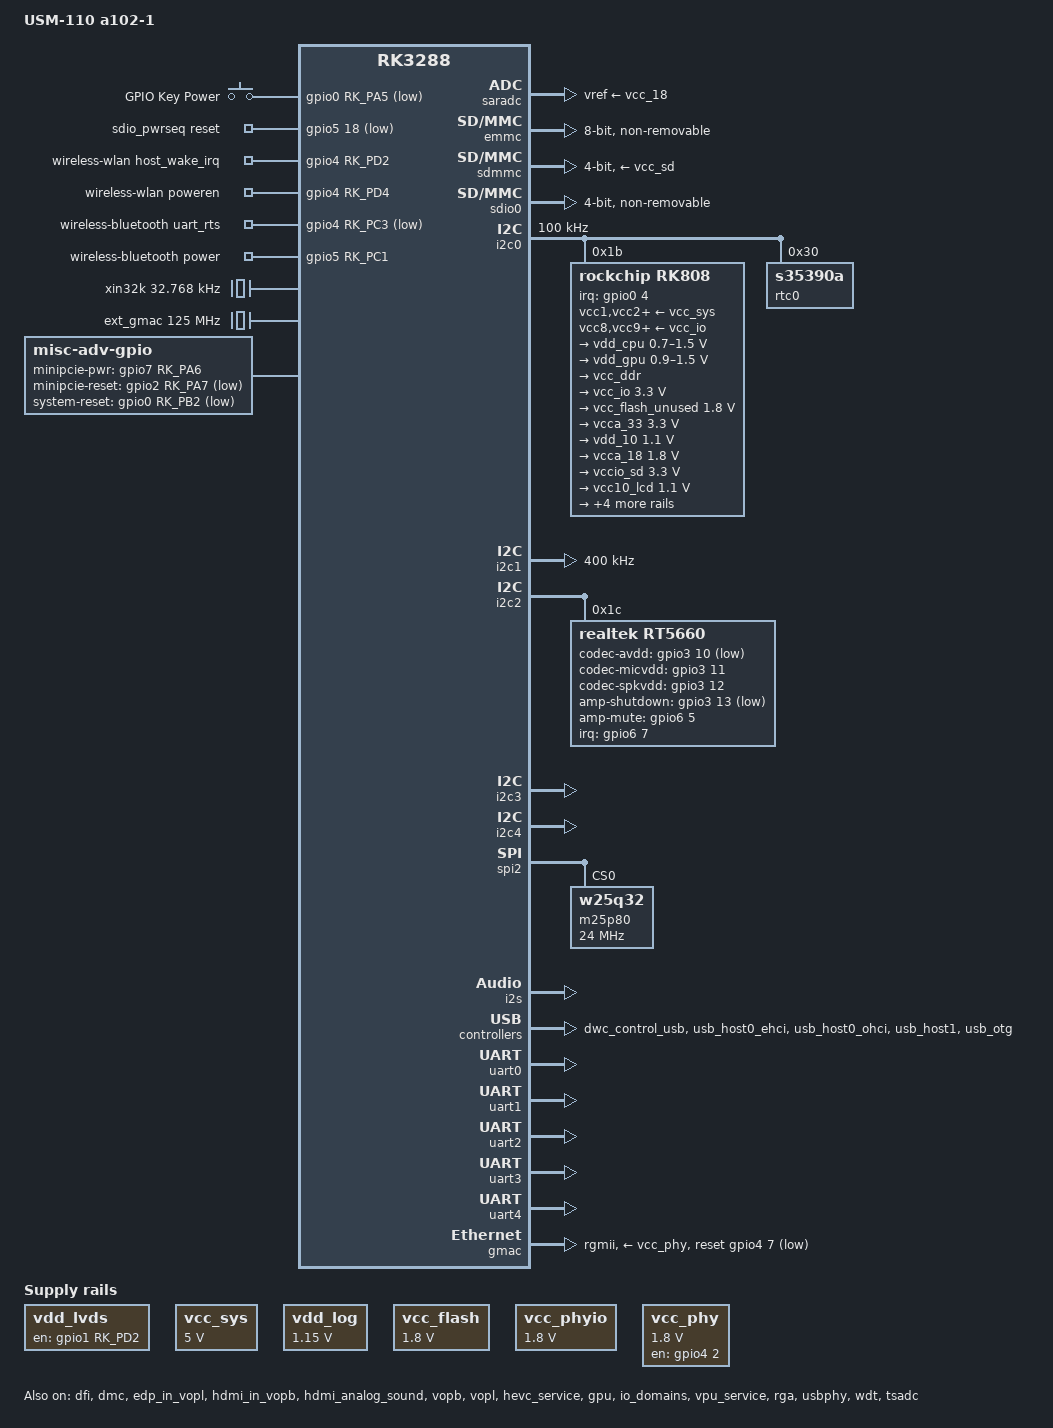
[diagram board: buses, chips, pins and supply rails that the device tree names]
/*
 * This file is dual-licensed: you can use it either under the terms
 * of the GPL or the X11 license, at your option. Note that this dual
 * licensing only applies to this file, and not this project as a
 * whole.
 *
 *  a) This file is free software; you can redistribute it and/or
 *     modify it under the terms of the GNU General Public License as
 *     published by the Free Software Foundation; either version 2 of the
 *     License, or (at your option) any later version.
 *
 *     This file is distributed in the hope that it will be useful,
 *     but WITHOUT ANY WARRANTY; without even the implied warranty of
 *     MERCHANTABILITY or FITNESS FOR A PARTICULAR PURPOSE.  See the
 *     GNU General Public License for more details.
 *
 * Or, alternatively,
 *
 *  b) Permission is hereby granted, free of charge, to any person
 *     obtaining a copy of this software and associated documentation
 *     files (the "Software"), to deal in the Software without
 *     restriction, including without limitation the rights to use,
 *     copy, modify, merge, publish, distribute, sublicense, and/or
 *     sell copies of the Software, and to permit persons to whom the
 *     Software is furnished to do so, subject to the following
 *     conditions:
 *
 *     The above copyright notice and this permission notice shall be
 *     included in all copies or substantial portions of the Software.
 *
 *     THE SOFTWARE IS PROVIDED "AS IS", WITHOUT WARRANTY OF ANY KIND,
 *     EXPRESS OR IMPLIED, INCLUDING BUT NOT LIMITED TO THE WARRANTIES
 *     OF MERCHANTABILITY, FITNESS FOR A PARTICULAR PURPOSE AND
 *     NONINFRINGEMENT. IN NO EVENT SHALL THE AUTHORS OR COPYRIGHT
 *     HOLDERS BE LIABLE FOR ANY CLAIM, DAMAGES OR OTHER LIABILITY,
 *     WHETHER IN AN ACTION OF CONTRACT, TORT OR OTHERWISE, ARISING
 *     FROM, OUT OF OR IN CONNECTION WITH THE SOFTWARE OR THE USE OR
 *     OTHER DEALINGS IN THE SOFTWARE.
 */

/dts-v1/;

#include <dt-bindings/pwm/pwm.h>
#include <dt-bindings/input/input.h>
#include <dt-bindings/display/rk_fb.h>

#include "rk3288.dtsi"
#include "rk3288-android.dtsi"

// edp panel
#include <dt-bindings/display/screen-timing/lcd-ch7525a.dtsi>

//hdmi
#include <dt-bindings/display/screen-timing/lcd-hdmi.dtsi>

/ {
	compatible = "rockchip,rk3288-usm110-a2", "rockchip,rk3288";
	model = "USM-110 a102-1";

	aliases {
		hdmi = &hdmi;
		edp = &edp;
		edp_phy = &edp_phy;
		lvds = &lvds;
		lvds_in_vopl = &lvds_in_vopl;
		lvds_in_vopb = &lvds_in_vopb;
	};
	
	chosen {
		//bootargs = "earlyprintk vmalloc=496M quiet";
		bootargs = "earlyprintk vmalloc=496M";
	};
	
	fiq-debugger {
		status = "disabled";
	};
	
	backlight {
		status = "disabled";
	};

	gpio-keys {
		compatible = "gpio-keys";
		#address-cells = <1>;
		#size-cells = <0>;
		autorepeat;

		pinctrl-names = "default";
		pinctrl-0 = <&pmic_pwr>;

		button@0 {
			gpios = <&gpio0 RK_PA5 GPIO_ACTIVE_LOW>;
			linux,code = <116>;
			label = "GPIO Key Power";
			linux,input-type = <1>;
			gpio-key,wakeup = <1>;
			debounce-interval = <100>;
		};
	};

	sdio_pwrseq: sdio-pwrseq {
		compatible = "mmc-pwrseq-simple";
		clocks = <&rk808 1>;
		clock-names = "ext_clock";
		pinctrl-names = "default";
		pinctrl-0 = <&wifi_enable_h>;

		/*
		 * On the module itself this is one of these (depending
		 * on the actual card populated):
		 * - SDIO_RESET_L_WL_REG_ON
		 * - PDN (power down when low)
		 */
		reset-gpios = <&gpio5 18 GPIO_ACTIVE_LOW>;
	};

    wireless-wlan {
		compatible = "wlan-platdata";
		rockchip,grf = <&grf>;
		wifi_chip_type = "rtl8723bs";
		sdio_vref = <3300>;
		keep_wifi_power_on = <1>;
		pinctrl-names = "default";
		pinctrl-0 = <&wifi_pwr_h>;
		//pinctrl-1 = <&wifi_enable_h>;
		WIFI,host_wake_irq = <&gpio4 RK_PD2 GPIO_ACTIVE_HIGH>; // WIFI_WAKE_HOST
		WIFI,poweren_gpio = <&gpio4 RK_PD4 GPIO_ACTIVE_HIGH>;
		//WIFI,reset_gpio = <&gpio5 RK_PC2 GPIO_ACTIVE_HIGH>;
		status = "okay";
    };

	wireless-bluetooth {
        compatible = "bluetooth-platdata";
        uart_rts_gpios = <&gpio4 RK_PC3 GPIO_ACTIVE_LOW>;
        pinctrl-names = "default", "rts_gpio";
        pinctrl-0 = <&uart0_rts &bt_pwr_h>;
        pinctrl-1 = <&uart0_rts_gpio &bt_pwr_h>;
        BT,power_gpio = <&gpio5 RK_PC1 GPIO_ACTIVE_HIGH>;
        //BT,reset_gpio    = <&gpio4 29 GPIO_ACTIVE_HIGH>;
        //BT,wake_gpio     = <&gpio4 26 GPIO_ACTIVE_HIGH>;
        //BT,wake_host_irq = <&gpio4 31 GPIO_ACTIVE_HIGH>;
        status = "okay";
	};
	
	vdd_lvds: vdd-lvds-regulator {
		compatible = "regulator-fixed";
		enable-active-high;
		gpio = <&gpio1 RK_PD2 GPIO_ACTIVE_HIGH>;
		//pinctrl-names = "default";
		//pinctrl-0 = <&vdd_lvds_pwr>;
		regulator-name = "vdd_lvds";
	};

	edp_panel {
		compatible = "simple-panel";
		status = "disabled";
		panel_type = <SCREEN_EDP>;
		display-timings = <&disp_timings>;
		
		ports {
			panel_in_edp: endpoint {
				remote-endpoint = <&edp_out_panel>;
			};
		};
	};

	lvds_panel
	{
		status = "disabled";
		compatible = "simple-panel";
		power-supply = <&vdd_lvds>;
		backlight = <&backlight>;
		panel_type = <SCREEN_LVDS>;

		bpc = <8>;
		bus-format = <MEDIA_BUS_FMT_RGB888_1X24>;
		prepare-delay-ms = <120>;
		enable-delay-ms = <120>;
		unprepare-delay-ms = <120>;
		disable-delay-ms = <120>;

		rockchip,data-mapping = "vesa";
		rockchip,data-width = <24>;
		rockchip,output = "lvds";
	
		display-timings = <&disp_timings>;
		
		ports {
			panel_in_lvds: endpoint {
				remote-endpoint = <&lvds_out_panel>;
			};
		};
	};

	xin32k: xin32k {
		compatible = "fixed-clock";
		clock-frequency = <32768>;
		clock-output-names = "xin32k";
		#clock-cells = <0>;
	};
	
	ext_gmac: external-gmac-clock {
		compatible = "fixed-clock";
		clock-frequency = <125000000>;
		clock-output-names = "ext_gmac";
		#clock-cells = <0>;
	};

	vcc_sys: vsys-regulator {
		compatible = "regulator-fixed";
		regulator-name = "vcc_sys";
		regulator-min-microvolt = <5000000>;
		regulator-max-microvolt = <5000000>;
		regulator-always-on;
		regulator-boot-on;
	};

	vdd_log: vdd-logic {
		compatible = "regulator-fixed";
		regulator-name = "vcc_log";
		regulator-min-microvolt = <1150000>;
		regulator-max-microvolt = <1150000>;
		regulator-always-on;
		regulator-boot-on;
	};

	vcc_flash: vdd-logic-regulator {
		compatible = "regulator-fixed";
		regulator-name = "vcc_flash";
		regulator-min-microvolt = <1800000>;
		regulator-max-microvolt = <1800000>;
		regulator-always-on;
		regulator-boot-on;
	};

	vcc_phyio: vcc-phy-regulator {
		compatible = "regulator-fixed";
		regulator-name = "vcc_phyio";
		regulator-min-microvolt = <1800000>;
		regulator-max-microvolt = <1800000>;
		regulator-always-on;
		regulator-boot-on;
	};

	vcc_phy: vcc-phy-regulator {
		compatible = "regulator-fixed";
		enable-active-high;
		gpio = <&gpio4 2 GPIO_ACTIVE_HIGH>;
		pinctrl-names = "default";
		pinctrl-0 = <&eth_phy_pwr>;
		regulator-name = "vcc_phy";
		regulator-min-microvolt = <1800000>;
		regulator-max-microvolt = <1800000>;
		regulator-always-on;
		regulator-boot-on;
	};

	misc-adv-gpio {
		compatible = "misc-adv-gpio";
		minipcie-pwr-gpio = <&gpio7 RK_PA6 GPIO_ACTIVE_HIGH>;
		timing-interval = <10>;
		minipcie-reset-gpio = <&gpio2 RK_PA7 GPIO_ACTIVE_LOW>;
		system-reset-gpio = <&gpio0 RK_PB2 GPIO_ACTIVE_LOW>;
		status = "okay";
		pinctrl-names = "default";
		pinctrl-0 = <&pcie_pwren &pcie_reset>;
	};
};

&rk_key {
	status = "disabled";
};
	
&cpu0 {
	cpu-supply = <&vdd_cpu>;
};

&dfi {
	status = "okay";
};

&dmc {
	center-supply = <&vdd_log>;
	status = "okay";
};

&disp_timings {
	native-mode = <&edp_1920x1080>;
	use-dts-screen = <1>;
	prmry-screen = <&hdmi_1080p>;
	extend-screen = <&edp_1920x1080>;
};

&lvds{
	status = "disabled";

	ports {
		lvds_out: port@1 {
			reg = <1>;
			#address-cells = <1>;
			#size-cells = <0>;

			lvds_out_panel: endpoint@0 {
				reg = <0>;
				remote-endpoint = <&panel_in_lvds>;
			};
		};
	};
};

&lvds_in_vopb {
    status = "disabled";
};

&lvds_in_vopl {
    status = "disabled";
};

&edp {
    force-hpd;
    status = "disabled";

    ports {
		edp_out: port@1 {
			reg = <1>;
			#address-cells = <1>;
			#size-cells = <0>;
			edp_out_panel: endpoint {
				reg = <0>;
				remote-endpoint = <&panel_in_edp>;
			};
		};
	};
};

&edp_phy {
    status = "disabled";
};

&edp_in_vopb {
    status = "disabled";
};

&edp_in_vopl {
    status = "okay";
};

&hdmi_in_vopb {
    status = "okay";
};

&hdmi_in_vopl {
    status = "disabled";
};

&hdmi {
	#address-cells = <1>;
	#size-cells = <0>;
	#sound-dai-cells = <0>;
	status = "disabled";
	rockchip,phy-table = 
		<74250000  0x8009 0x0004 0x0251>,
		<165000000 0x8009 0x0004 0x0251>,
		<297000000 0x8039 0x0004 0x0040>,
		<594000000 0x8039 0x0000 0x0040>;
};

&hdmi_analog_sound {
	status = "okay";
	rockchip,codec = <&rt5660>, <&hdmi>;
	rockchip,model = "rockchip,rt5660-codec";
	rockchip,widgets =
			"Microphone", "Microphone Jack",
			"Headphone", "Headphone Jack";
	rockchip,routing =
		"IN1P", "Microphone Jack",
		"IN1N", "Microphone Jack",
		"Microphone Jack", "MICBIAS1",
		"Headphone Jack", "SPO",
		"Headphone Jack", "LOUTL",
		"Headphone Jack", "LOUTR";
};

&vopb {
	status = "okay";
};

&vopb_mmu {
	status = "okay";
};

&vopl {
	status = "okay";
};

&vopl_mmu {
	status = "okay";
};
	
&saradc {
	vref-supply = <&vcc_18>;
	status = "okay";
};

&hevc_service {
	status = "okay";
};

&nandc0 {
	status = "disabled";
};

&emmc {
	bus-width = <8>;
	cap-mmc-highspeed;
	disable-wp;
	non-removable;
	num-slots = <1>;
	pinctrl-names = "default";
	pinctrl-0 = <&emmc_clk &emmc_cmd &emmc_pwr &emmc_bus8>;
	max-frequency = <75000000>;
	mmc-hs200-1_8v;
	mmc-ddr-1_8v;
	status = "okay";
};

&sdmmc {
	supports-sd;
	bus-width = <4>;
	cap-mmc-highspeed;
	//sd-uhs-sdr12;
	//sd-uhs-sdr25;
	//sd-uhs-sdr50;
	//sd-uhs-sdr104;
	cap-sd-highspeed;
	card-detect-delay = <200>;
	disable-wp;			/* wp not hooked up */
	num-slots = <1>;
	pinctrl-names = "default";
	pinctrl-0 = <&sdmmc_clk &sdmmc_cmd &sdmmc_cd &sdmmc_bus4>;
	status = "okay";
	vmmc-supply = <&vcc_sd>;
	vqmmc-supply = <&vccio_sd>;
};

&sdio0 {
	status = "okay";
	max-frequency = <150000000>;
	clock-frequency = <50000000>;
	clock-freq-min-max = <200000 50000000>;

	bus-width = <4>;
	cap-sd-highspeed;
	cap-sdio-irq;
	disable-wp;
	keep-power-in-suspend;
	mmc-pwrseq = <&sdio_pwrseq>;
	non-removable;
	num-slots = <1>;
	pinctrl-names = "default";
	pinctrl-0 = <&sdio0_bus4 &sdio0_cmd &sdio0_clk &sdio0_int>;
	//sd-uhs-sdr104;
	supports-sdio;
};

&gpu {
	status = "okay";
	mali-supply = <&vdd_gpu>;
};

&io_domains {
	status = "okay";
	audio-supply = <&vcca_18>;
	bb-supply = <&vcc_io>;
	dvp-supply = <&vcc_io>;
	flash0-supply = <&vcc_flash>;
	flash1-supply = <&vcc_phyio>;
	gpio30-supply = <&vcc_io>;
	gpio1830 = <&vcc_io>;
	lcdc-supply = <&vcca_33>;
	sdcard-supply = <&vccio_sd>;
	wifi-supply = <&vcc_io>;
};

&i2c0 {
	status = "okay";
	clock-frequency = <100000>;

	rk808: pmic@1b {
		compatible = "rockchip,rk808";
		reg = <0x1b>;
		interrupt-parent = <&gpio0>;
		interrupts = <4 IRQ_TYPE_LEVEL_LOW>;
		pinctrl-names = "default";
		pinctrl-0 = <&pmic_int &global_pwroff>;
		rockchip,system-power-controller;
		wakeup-source;
		#clock-cells = <1>;
		clock-output-names = "rk808-clkout1", "rk808-clkout2";

		vcc1-supply = <&vcc_sys>;
		vcc2-supply = <&vcc_sys>;
		vcc3-supply = <&vcc_sys>;
		vcc4-supply = <&vcc_sys>;
		vcc6-supply = <&vcc_sys>;
		vcc7-supply = <&vcc_sys>;
		vcc8-supply = <&vcc_io>;
		vcc9-supply = <&vcc_io>;
		vcc10-supply = <&vcc_io>;
		vcc11-supply = <&vcc_io>;
		vcc12-supply = <&vcc_io>;
		vddio-supply = <&vcc_io>;

		regulators {
			vdd_cpu: DCDC_REG1 {
				regulator-always-on;
				regulator-boot-on;
				regulator-min-microvolt = <700000>;
				regulator-max-microvolt = <1500000>;
				regulator-name = "vdd_arm";
				regulator-state-mem {
					regulator-off-in-suspend;
				};
			};

			vdd_gpu: DCDC_REG2 {
				regulator-always-on;
				regulator-boot-on;
				regulator-min-microvolt = <900000>;
				regulator-max-microvolt = <1500000>;
				regulator-name = "vdd_gpu";
				regulator-ramp-delay = <6000>;
				regulator-state-mem {
					regulator-off-in-suspend;
				};
			};

			vcc_ddr: DCDC_REG3 {
				regulator-always-on;
				regulator-boot-on;
				regulator-name = "vcc_ddr";
				regulator-state-mem {
					regulator-on-in-suspend;
				};
			};

			vcc_io: DCDC_REG4 {
				regulator-always-on;
				regulator-boot-on;
				regulator-min-microvolt = <3300000>;
				regulator-max-microvolt = <3300000>;
				regulator-name = "vcc_io";
				regulator-state-mem {
					regulator-on-in-suspend;
					regulator-suspend-microvolt = <3300000>;
				};
			};

			vcc_flash_unused: LDO_REG1 {
				//regulator-always-on;
				//regulator-boot-on;
				regulator-min-microvolt = <1800000>;
				regulator-max-microvolt = <1800000>;
				regulator-name = "vcc_flash_unused";
				regulator-state-mem {
					regulator-off-in-suspend;
				};
			};

			vcca_33: LDO_REG2 {
				regulator-always-on;
				regulator-boot-on;
				regulator-min-microvolt = <3300000>;
				regulator-init-microvolt = <3300000>;
				regulator-max-microvolt = <3300000>;
				regulator-name = "vcca_33";
				regulator-state-mem {
					regulator-off-in-suspend;
				};
			};

			vdd_10: LDO_REG3 {
				regulator-always-on;
				regulator-boot-on;
				regulator-min-microvolt = <1100000>;
				regulator-init-microvolt = <1100000>;
				regulator-max-microvolt = <1100000>;
				regulator-name = "vdd_10";
				regulator-state-mem {
					regulator-on-in-suspend;
					regulator-suspend-microvolt = <1100000>;
				};
			};

			vcca_18: LDO_REG4 {
				regulator-always-on;
				regulator-boot-on;
				regulator-min-microvolt = <1800000>;
				regulator-init-microvolt = <1800000>;
				regulator-max-microvolt = <1800000>;
				regulator-name = "vcca_18";
				regulator-state-mem {
					regulator-off-in-suspend;
				};
			};

			vccio_sd: LDO_REG5 {
				regulator-always-on;
				regulator-boot-on;
				regulator-min-microvolt = <3300000>;
				regulator-init-microvolt = <3300000>;
				regulator-max-microvolt = <3300000>;
				regulator-name = "vccio_sd";
				regulator-state-mem {
					regulator-on-in-suspend;
					regulator-suspend-microvolt = <3300000>;
				};
			};

			vcc10_lcd: LDO_REG6 {
				regulator-always-on;
				regulator-boot-on;
				regulator-min-microvolt = <1100000>;
				regulator-init-microvolt = <1100000>;
				regulator-max-microvolt = <1100000>;
				regulator-name = "vcc10_lcd";
				regulator-state-mem {
					regulator-off-in-suspend;
				};
			};

			vcc_18: LDO_REG7 {
				regulator-always-on;
				regulator-boot-on;
				regulator-min-microvolt = <1800000>;
				regulator-init-microvolt = <1800000>;
				regulator-max-microvolt = <1800000>;
				regulator-name = "vcc_18";
				regulator-state-mem {
					regulator-on-in-suspend;
					regulator-suspend-microvolt = <1800000>;
				};
			};

			vcc18_lcd: LDO_REG8 {
				regulator-always-on;
				regulator-boot-on;
				regulator-min-microvolt = <1800000>;
				regulator-init-microvolt = <1800000>;
				regulator-max-microvolt = <1800000>;
				regulator-name = "vcc18_lcd";
				regulator-state-mem {
					regulator-off-in-suspend;
				};
			};

			vcc_sd: SWITCH_REG1 {
				regulator-always-on;
				regulator-boot-on;
				regulator-min-microvolt = <3300000>;
				regulator-init-microvolt = <3300000>;
				regulator-max-microvolt = <3300000>;
				regulator-name = "vcc_sd";
				regulator-state-mem {
					regulator-on-in-suspend;
				};
			};

			phy_vddio_unused: SWITCH_REG2 {
				//regulator-always-on;
				//regulator-boot-on;
				regulator-min-microvolt = <3300000>;
				regulator-max-microvolt = <3300000>;
				regulator-name = "phy_vddio_unused";
				regulator-state-mem {
					regulator-off-in-suspend;
				};
			};
		};
	};

	rtc0: rtc@30  {
		compatible = "s35390a"; 
		reg = <0x30>;
	};
};

&i2c1 {
	status = "okay";
	clock-frequency = <400000>;
};

&i2c2 {
	status = "okay";
	
	rt5660: rt5660@1c {
		#sound-dai-cells = <0>;
		compatible = "realtek,rt5660";
		rockchip,cru = <&cru>;
		rockchip,grf = <&grf>;
		reg = <0x1c>;
		codec-avdd-gpio = <&gpio3 10 GPIO_ACTIVE_LOW>;
		codec-avdd-delay = <100>;
		codec-micvdd-gpio = <&gpio3 11 GPIO_ACTIVE_HIGH>;
		codec-spkvdd-gpio = <&gpio3 12 GPIO_ACTIVE_HIGH>;
		amp-shutdown-gpio = <&gpio3 13 GPIO_ACTIVE_LOW>;
		amp-mute-gpio = <&gpio6 5 GPIO_ACTIVE_HIGH>;

		clocks = <&cru SCLK_I2S0_OUT>;
		clock-names = "mclk";
		interrupt-parent = <&gpio6>;
		interrupts = <7 IRQ_TYPE_EDGE_FALLING>;

		pinctrl-names = "default";
		pinctrl-0 = <&i2s0_mclk &codec_avdd &codec_micvdd &codec_spkvdd &amp_shutdown &amp_mute>;
	};
};

&i2c3 {
	status = "okay";
};

&i2c4 {
	status = "okay";
};

&i2c5 {
	status = "disabled";
};

&spi0 {
	status = "disabled";
	max-freq = <48000000>;	
};

&spi1 {
	status = "disabled";
	max-freq = <48000000>;
};

&spi2 {
	status = "okay";
	pinctrl-0 = <&spi2_clk &spi2_tx &spi2_rx &spi2_cs0 &spi2_cs1>;
	num-cs = <2>;
	max-freq = <48000000>;
	m25p80@0 {
		compatible = "w25q32";
		spi-max-frequency = <24000000>;
		reg = <0>;	/* CS address. */
		//spi-cpol;
		//spi-cpha;
	};
};

&i2s {
	#sound-dai-cells = <0>;
	status = "okay";
};

&vpu_service {
	status = "okay";
};

&cif_isp0 {
	status = "disabled";
};

&isp {
	status = "disabled";
	pinctrl-names =
			"default", "isp_dvp8bit2", "isp_dvp10bit",
			"isp_dvp12bit", "isp_dvp8bit0", "isp_mipi_fl",
			"isp_mipi_fl_prefl";
	/delete-property/ pinctrl-7;
	/delete-property/ pinctrl-8;
	/delete-property/ rockchip,gpios;
};

&isp_mmu {
	status = "disabled";
};

&rga {
	status = "okay";
};

&dwc_control_usb {
	status = "okay";
	pinctrl-names = "default";
	pinctrl-0 = <&host_vbus_drv &otg_vbus_drv>;
	otg_drv_gpio = <&gpio0 12 GPIO_ACTIVE_LOW>;
	host_drv_gpio = <&gpio0 14 GPIO_ACTIVE_LOW>;
};

&usbphy {
	status = "okay";
};

&usb_host0_ehci {
	rockchip-relinquish-port;
	status = "okay";
};

&usb_host0_ohci {
	status = "okay";
};

&usb_host1 {
	status = "okay";
};

&usb_otg {
	status = "okay";
};

&uart0 {
	status = "okay";
	pinctrl-0 = <&uart0_xfer &uart0_cts>;
	dmas = <&dmac_peri 1>, <&dmac_peri 2>;
	dma-names = "tx", "rx";
};

&uart1 {
	status = "okay";
	pinctrl-names = "default","rts_gpio";
	pinctrl-0 = <&uart1_xfer &uart1_cts &uart1_rts>;
	pinctrl-1 = <&uart1_xfer &uart1_rts_gpio>;
	dmas = <&dmac_peri 3>, <&dmac_peri 4>;
	dma-names = "tx", "rx";
};

&uart2 {
	status = "okay";
	//dmas = <&dmac_bus_s 4>, <&dmac_bus_s 5>;
	//dma-names = "tx", "rx";
};

&uart3 {
	status = "okay";
	pinctrl-names = "default","rts_gpio";
	pinctrl-0 = <&uart3_xfer &uart3_cts &uart3_rts>;
	pinctrl-1 = <&uart3_xfer &uart3_rts_gpio>;
	dmas = <&dmac_peri 7>, <&dmac_peri 8>;
	dma-names = "tx", "rx";
};

&uart4 {
	status = "okay";
	pinctrl-names = "default","rts_gpio";
	pinctrl-0 = <&uart4_xfer &uart4_cts &uart4_rts &uart4_sel_gpio>;
	pinctrl-1 = <&uart4_xfer &uart4_sel_gpio &uart4_rts_gpio>;
	uart-sel-gpio = <&gpio5 RK_PC0 GPIO_ACTIVE_HIGH>;
	rs485-tx-active = <&gpio5 RK_PB5 GPIO_ACTIVE_LOW>;
	dmas = <&dmac_peri 9>, <&dmac_peri 10>;
	dma-names = "tx", "rx";
};

&gmac {
	status = "okay";
	phy-supply = <&vcc_phy>;
	phy-mode = "rgmii";
	clock_in_out = "input";
	snps,reset-gpio = <&gpio4 7 0>;
	snps,reset-active-low;
	snps,reset-delays-us = <0 1000 200000>;
	assigned-clocks = <&cru SCLK_MAC>;
	assigned-clock-parents = <&ext_gmac>;
	pinctrl-names = "default";
	pinctrl-0 = <&rgmii_pins &eth_phy_rst>;
	tx_delay = <0x0>;
	rx_delay = <0x0>;
	max-speed = <1000>;
	phy_reg_config = <//address mask value
					0x0014 0x200 0x200
					0x0018 0xfff 0x65b
					0x001e 0x200 0x200
					0x0032 0x3 0x3
					0x0086 0xff 0x80
					0x0170 0x1f00 0x0000
				>;
};

&wdt {
	status = "okay";
};

&cpu0_opp_table {
	rockchip,pvtm-number = <7>;
	/delete-node/ opp-126000000;
	/delete-node/ opp-216000000;
	/delete-node/ opp-696000000;
	/delete-node/ opp-1512000000;
};

&target {
	temperature = <105000>;
};

&gpu_opp_table {
	/delete-node/ opp-100000000;
};

&dmc_opp_table {
	opp-192000000 {
		opp-microvolt = <1150000>;
	};
	opp-300000000 {
		opp-microvolt = <1150000>;
	};
	opp-396000000 {
		opp-microvolt = <1150000>;
	};
};

&tsadc {
	rockchip,grf = <&grf>;
	rockchip,hw-tshut-mode = <1>; /* tshut mode 0:CRU 1:GPIO */
	rockchip,hw-tshut-polarity = <0>; /* tshut polarity 0:LOW 1:HIGH */
	status = "okay";
};

&pwm0 {
	status = "disabled";
};

&pwm1 {
	status = "disabled";
};

&rockchip_suspend {
	status = "disabled";
	rockchip,pwm-regulator-config = <
	(0
	)
	>;
};

&pinctrl {
	pcfg_pull_up_12ma: pcfg-pull-up-12ma {
		bias-pull-up;
		drive-strength = <12>;
	};

	pcfg_pull_none_drv_8ma: pcfg-pull-none-drv-8ma {
		bias-disable;
		drive-strength = <8>;
	};

	pcfg_pull_up_drv_8ma: pcfg-pull-up-drv-8ma {
		bias-pull-up;
		drive-strength = <8>;
	};

	pcfg_pull_up_drv_2ma: pcfg-pull-up-drv-2ma {
		bias-pull-up;
		drive-strength = <2>;
	};
	
	pcfg_pull_down_drv_2ma: pcfg-pull-down-drv-2ma {
		bias-pull-down;
		drive-strength = <2>;
	};

	codec {
		codec_avdd: codec-avdd {
			rockchip,pins = <3 10 RK_FUNC_GPIO &pcfg_pull_up>;
		};
		codec_micvdd: codec-micvdd {
			rockchip,pins = <3 11 RK_FUNC_GPIO &pcfg_pull_down>;
		};
		codec_spkvdd: codec-spkvdd {
			rockchip,pins = <3 12 RK_FUNC_GPIO &pcfg_pull_down>;
		};
		amp_shutdown: amp-shutdown {
			rockchip,pins = <3 13 RK_FUNC_GPIO &pcfg_pull_up>;
		};
		amp_mute: amp-mute {
			rockchip,pins = <6 5 RK_FUNC_GPIO &pcfg_pull_down>;
		};
	};

	pmic {
		pmic_int: pmic-int {
			rockchip,pins = <0 4 RK_FUNC_GPIO &pcfg_pull_up>;
		};
		
		pmic_pwr: pmic-pwr {
			rockchip,pins = <0 5 RK_FUNC_GPIO &pcfg_pull_none>;
		};

		pmic_rst: pmic-rst {
			rockchip,pins = <0 10 RK_FUNC_GPIO &pcfg_pull_none>;
		};
	};

	sdmmc {
		/*
		 * Default drive strength isn't enough to achieve even
		 * high-speed mode on EVB board so bump up to 8ma.
		 */
		sdmmc_bus4: sdmmc-bus4 {
			rockchip,pins = <6 16 RK_FUNC_1 &pcfg_pull_up_drv_8ma>,
					<6 17 RK_FUNC_1 &pcfg_pull_up_drv_8ma>,
					<6 18 RK_FUNC_1 &pcfg_pull_up_drv_8ma>,
					<6 19 RK_FUNC_1 &pcfg_pull_up_drv_8ma>;
		};

		sdmmc_clk: sdmmc-clk {
			rockchip,pins = <6 20 RK_FUNC_1 &pcfg_pull_none_drv_8ma>;
		};

		sdmmc_cmd: sdmmc-cmd {
			rockchip,pins = <6 21 RK_FUNC_1 &pcfg_pull_up_drv_8ma>;
		};
	};

	usb {
		host_vbus_drv: host-vbus-drv {
			rockchip,pins = <0 14 RK_FUNC_GPIO &pcfg_pull_none>;
		};

		otg_vbus_drv: otg-vbus-drv {
			rockchip,pins = <0 12 RK_FUNC_GPIO &pcfg_pull_none>;
		};
	};

	eth-phy {
		eth_phy_pwr: eth-phy-pwr {
			rockchip,pins = <4 2 RK_FUNC_GPIO &pcfg_pull_none>;
		};

		eth_phy_rst: eth-phy-rst {
			rockchip,pins = <4 7 RK_FUNC_GPIO &pcfg_pull_none>;
		};
	};

	wireless-bluetooth {
		uart0_rts_gpio: uart0-rts-gpio {
			rockchip,pins = <4 19 RK_FUNC_GPIO &pcfg_pull_none>;
		};
		bt_pwr_h: bt-pwr-h {
			rockchip,pins =<5 17 RK_FUNC_GPIO &pcfg_pull_none>;
		};
	};

    sdio-pwrseq {
		wifi_enable_h: wifi-enable-h {
			rockchip,pins =<5 18 RK_FUNC_GPIO &pcfg_pull_none>; // WIFI_REG_ON
		};
		wifi_pwr_h: wifi-pwr-h {
			rockchip,pins =<4 28 RK_FUNC_GPIO &pcfg_pull_none>; // WIFI_REG_ON
		};
    };

    minipcie-pwrseq {
		pcie_pwren: pcie-pwren {
			rockchip,pins =<7 6 RK_FUNC_GPIO &pcfg_pull_none>;
		};

		pcie_reset: pcie-reset {
			rockchip,pins =<2 7 RK_FUNC_GPIO &pcfg_pull_none>;
		};
    };

	uart1_pin {
    	uart1_rts_gpio: uart1-rts-gpio {
			rockchip,pins =<3 19 RK_FUNC_GPIO &pcfg_pull_none>;
		};
    };
   
    uart3_pin {
    	uart3_rts_gpio: uart3-rts-gpio {
			rockchip,pins =<7 10 RK_FUNC_GPIO &pcfg_pull_none>;
		};
    };

    uart4_pin {
    	uart4_rts_gpio: uart4-rts-gpio {
			rockchip,pins =<5 13 RK_FUNC_GPIO &pcfg_pull_none>;
		};

		uart4_sel_gpio: uart4-sel-gpio {
			rockchip,pins =<5 16 RK_FUNC_GPIO &pcfg_pull_none>;
		};
    };

    spi2 {
		spi2_clk: spi2-clk {
			rockchip,pins = <8 6 RK_FUNC_1 &pcfg_pull_down_drv_2ma>;
		};
		spi2_cs0: spi2-cs0 {
			rockchip,pins = <8 7 RK_FUNC_1 &pcfg_pull_up_drv_2ma>;
		};
		spi2_rx: spi2-rx {
			rockchip,pins = <8 8 RK_FUNC_1 &pcfg_pull_down_drv_2ma>;
		};
		spi2_tx: spi2-tx {
			rockchip,pins = <8 9 RK_FUNC_1 &pcfg_pull_down_drv_2ma>;
		};
	};

	gmac {
		rgmii_pins: rgmii-pins {
			rockchip,pins = <3 30 3 &pcfg_pull_none_12ma>,
					<3 31 3 &pcfg_pull_none_12ma>,
					<3 26 3 &pcfg_pull_none_12ma>,
					<3 27 3 &pcfg_pull_none_12ma>,
					<3 28 3 &pcfg_pull_none_12ma>,
					<3 29 3 &pcfg_pull_none_12ma>,
					<3 24 3 &pcfg_pull_none_12ma>,
					<3 25 3 &pcfg_pull_none_12ma>,
					<4 0 3 &pcfg_pull_none_12ma>,
					<4 5 3 &pcfg_pull_none_12ma>,
					<4 6 3 &pcfg_pull_none_12ma>,
					<4 8 3 &pcfg_pull_none_12ma>,
					<4 9 3 &pcfg_pull_none_12ma>,
					<4 4 3 &pcfg_pull_none_12ma>,
					<4 1 3 &pcfg_pull_none_12ma>,
					<4 3 3 &pcfg_pull_none_12ma>;
		};
	};

	emmc {
		emmc_clk: emmc-clk {
			rockchip,pins = <3 18 RK_FUNC_2 &pcfg_pull_none_12ma>;
		};
	};

	sdio0 {
		sdio0_bus1: sdio0-bus1 {
			rockchip,pins = <4 20 RK_FUNC_1 &pcfg_pull_up_12ma>;
		};

		sdio0_bus4: sdio0-bus4 {
			rockchip,pins = <4 20 RK_FUNC_1 &pcfg_pull_up_12ma>,
					<4 21 RK_FUNC_1 &pcfg_pull_up_12ma>,
					<4 22 RK_FUNC_1 &pcfg_pull_up_12ma>,
					<4 23 RK_FUNC_1 &pcfg_pull_up_12ma>;
		};

		sdio0_cmd: sdio0-cmd {
			rockchip,pins = <4 24 RK_FUNC_1 &pcfg_pull_up_12ma>;
		};

		sdio0_clk: sdio0-clk {
			rockchip,pins = <4 25 RK_FUNC_1 &pcfg_pull_none_12ma>;
		};

		sdio0_int: sdio0-int {
			rockchip,pins = <4 30 RK_FUNC_1 &pcfg_pull_up_12ma>;
		};
	};
};
